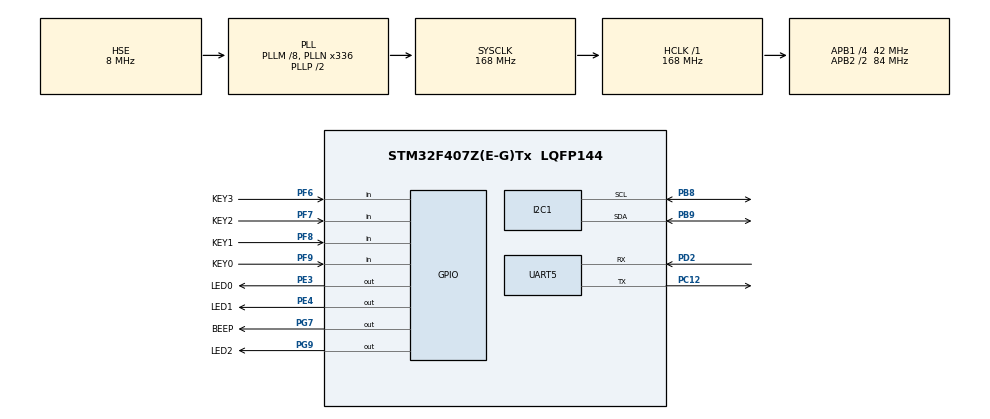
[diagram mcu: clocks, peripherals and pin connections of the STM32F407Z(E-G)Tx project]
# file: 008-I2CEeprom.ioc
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Mcu.Family=STM32F4
Mcu.Name=STM32F407Z(E-G)Tx
Mcu.Package=LQFP144
NVIC.PriorityGroup=NVIC_PRIORITYGROUP_4
NVIC.TIM3_IRQn=true\:0\:0\:false\:false\:true\:true\:true\:true
PA13.Mode=Serial_Wire
PA13.Signal=SYS_JTMS-SWDIO
PA14.Mode=Serial_Wire
PA14.Signal=SYS_JTCK-SWCLK
PB8.Mode=I2C
PB8.Signal=I2C1_SCL
PB9.Mode=I2C
PB9.Signal=I2C1_SDA
PC12.Mode=Asynchronous
PC12.Signal=UART5_TX
PC14-OSC32_IN.Mode=LSE-External-Oscillator
PC14-OSC32_IN.Signal=RCC_OSC32_IN
PC15-OSC32_OUT.Mode=LSE-External-Oscillator
PC15-OSC32_OUT.Signal=RCC_OSC32_OUT
PD2.Mode=Asynchronous
PD2.Signal=UART5_RX
PE3.GPIO_Label=LED0
PE3.PinState=GPIO_PIN_SET
PE3.Signal=GPIO_Output
PE4.GPIO_Label=LED1
PE4.PinState=GPIO_PIN_SET
PE4.Signal=GPIO_Output
PF6.GPIO_Label=KEY3
PF6.GPIO_PuPd=GPIO_PULLUP
PF6.Signal=GPIO_Input
PF7.GPIO_Label=KEY2
PF7.GPIO_PuPd=GPIO_PULLUP
PF7.Signal=GPIO_Input
PF8.GPIO_Label=KEY1
PF8.GPIO_PuPd=GPIO_PULLUP
PF8.Signal=GPIO_Input
PF9.GPIO_Label=KEY0
PF9.GPIO_PuPd=GPIO_PULLUP
PF9.Signal=GPIO_Input
PG7.GPIO_Label=BEEP
PG7.Signal=GPIO_Output
PG9.GPIO_Label=LED2
PG9.PinState=GPIO_PIN_SET
PG9.Signal=GPIO_Output
PH0-OSC_IN.Mode=HSE-External-Oscillator
PH0-OSC_IN.Signal=RCC_OSC_IN
PH1-OSC_OUT.Mode=HSE-External-Oscillator
PH1-OSC_OUT.Signal=RCC_OSC_OUT
ProjectManager.HeapSize=0x200
ProjectManager.StackSize=0x400
ProjectManager.TargetToolchain=CMake
RCC.48MHZClocksFreq_Value=84000000
RCC.AHBFreq_Value=168000000
RCC.APB1CLKDivider=RCC_HCLK_DIV4
RCC.APB1Freq_Value=42000000
RCC.APB1TimFreq_Value=84000000
RCC.APB2CLKDivider=RCC_HCLK_DIV2
RCC.APB2Freq_Value=84000000
RCC.APB2TimFreq_Value=168000000
RCC.CortexFreq_Value=168000000
RCC.HCLKFreq_Value=168000000
RCC.HSE_VALUE=8000000
RCC.HSI_VALUE=16000000
RCC.PLLM=8
RCC.PLLN=336
RCC.PLLSourceVirtual=RCC_PLLSOURCE_HSE
RCC.SYSCLKFreq_VALUE=168000000
RCC.SYSCLKSource=RCC_SYSCLKSOURCE_PLLCLK
RCC.VCOOutputFreq_Value=336000000
TIM3.Period=999
TIM3.Prescaler=1679
UART5.VirtualMode=Asynchronous
VP_TIM3_VS_ClockSourceINT.Mode=Internal
board=custom

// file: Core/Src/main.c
/* USER CODE BEGIN Header */
/**
  ******************************************************************************
  * @file           : main.c
  * @brief          : Main program body
  ******************************************************************************
  * @attention
  *
  * Copyright (c) 2026 STMicroelectronics.
  * All rights reserved.
  *
  * This software is licensed under terms that can be found in the LICENSE file
  * in the root directory of this software component.
  * If no LICENSE file comes with this software, it is provided AS-IS.
  *
  ******************************************************************************
  */
/* USER CODE END Header */
#include "main.h"
#include "i2c.h"
#include "tim.h"
#include "usart.h"
#include "gpio.h"

/* USER CODE BEGIN Includes */
#include <stdio.h>
#include <string.h>
#include "eeprom.h"
/* USER CODE END Includes */

void SystemClock_Config(void);

/* USER CODE BEGIN 0 */
int __io_putchar(int ch)
{
  HAL_UART_Transmit(&huart5, (uint8_t *)&ch, 1, HAL_MAX_DELAY);
  return ch;
}

/* software CRC-16/CCITT over a RAM buffer, used to cross-check EEPROM_CRC16 */
static uint16_t SoftCRC16(const uint8_t *buf, uint16_t len)
{
  uint16_t crc = 0xFFFF;
  for (uint16_t i = 0; i < len; i++)
  {
    crc ^= (uint16_t)buf[i] << 8;
    for (uint8_t b = 0; b < 8; b++)
      crc = (crc & 0x8000u) ? (uint16_t)((crc << 1) ^ 0x1021u)
                            : (uint16_t)(crc << 1);
  }
  return crc;
}
/* USER CODE END 0 */

int main(void)
{

  /* MCU Configuration--------------------------------------------------------*/

  /* Reset of all peripherals, Initializes the Flash interface and the Systick. */
  HAL_Init();

  /* Configure the system clock */
  SystemClock_Config();

  /* Initialize all configured peripherals */
  MX_GPIO_Init();
  MX_TIM3_Init();
  MX_UART5_Init();
  MX_I2C1_Init();
  /* USER CODE BEGIN 2 */
  /* --- Step 1: single byte write/read --- */
  uint8_t w1 = 0xA5, r1 = 0;
  if (EEPROM_WriteByte(0x00, w1) != EEPROM_OK)
    printf("Step1 (1 byte write) : FAIL (I2C error)\r\n");
  else if (EEPROM_ReadByte(0x00, &r1) != EEPROM_OK)
    printf("Step1 (1 byte read)  : FAIL (I2C error)\r\n");
  else
    printf("Step1 (1 byte)       : %s (W=0x%02X R=0x%02X)\r\n",
           (w1 == r1) ? "PASS" : "FAIL (mismatch)", w1, r1);

  /* --- Step 2: 4 byte write/read (within one page) --- */
  uint8_t w4[4] = {0x11, 0x22, 0x33, 0x44};
  uint8_t r4[4] = {0};
  if (EEPROM_Write(0x10, w4, sizeof(w4)) != EEPROM_OK)
    printf("Step2 (4 byte write) : FAIL (I2C error)\r\n");
  else if (EEPROM_Read(0x10, r4, sizeof(r4)) != EEPROM_OK)
    printf("Step2 (4 byte read)  : FAIL (I2C error)\r\n");
  else
    printf("Step2 (4 byte)       : %s\r\n",
           (memcmp(w4, r4, sizeof(w4)) == 0) ? "PASS" : "FAIL (mismatch)");

  /* --- Step 4: block fill + verify --- */
  uint8_t expect[16];
  memset(expect, 0x5A, sizeof(expect));
  printf("Step3.1 Fill 0x5A @0x20 len=16 : %s\r\n",
         (EEPROM_Fill(0x20, 0x5A, 16) == EEPROM_OK) ? "PASS" : "FAIL");
  printf("Step3.2 Verify 0x5A @0x20      : %s\r\n",
         (EEPROM_Verify(0x20, expect, sizeof(expect)) == EEPROM_OK) ? "PASS"
                                                                    : "FAIL");

  /* --- Step 4: CRC-16 of written data (EEPROM vs RAM cross-check) --- */
  uint8_t w10[10] = {0x10, 0x21, 0x32, 0x43, 0x54, 0x65, 0x76, 0x87, 0x98, 0xA9};
  EEPROM_Write(0x00, w10, sizeof(w10));
  uint16_t crcE = EEPROM_CRC16(0x00, sizeof(w10));
  uint16_t crcS = SoftCRC16(w10, sizeof(w10));
  printf("Step4   CRC16 (eeprom=0x%04X soft=0x%04X) : %s\r\n",
         crcE, crcS, (crcE == crcS) ? "PASS" : "FAIL");

  /* --- Step 5: dump written region --- */
  printf("Step5   Dump first 4 pages:\r\n");
  EEPROM_Dump(0x00, 32);

  /* --- Step 6: cross-page 10-byte write + verify (uses Verify API) --- */
  printf("Step6   Cross-page 10B w+verify : %s\r\n",
         (EEPROM_Verify(0x00, w10, sizeof(w10)) == EEPROM_OK) ? "PASS"
                                                              : "FAIL");

  /* --- Step 7: erase whole chip at the end, check blank --- */
  printf("Step7.1 EraseAll               : %s\r\n",
         (EEPROM_EraseAll() == EEPROM_OK) ? "PASS" : "FAIL");
  memset(expect, 0xFF, 16);
  printf("Step7.2 Verify 0xFF @0x00      : %s\r\n",
         (EEPROM_Verify(0x00, expect, 16) == EEPROM_OK) ? "PASS" : "FAIL");
  /* USER CODE END 2 */

  /* Infinite loop */
  while (1)
  {

  }
}

void SystemClock_Config(void)
{
  RCC_OscInitTypeDef RCC_OscInitStruct = {0};
  RCC_ClkInitTypeDef RCC_ClkInitStruct = {0};

  /** Configure the main internal regulator output voltage
  */
  __HAL_RCC_PWR_CLK_ENABLE();
  __HAL_PWR_VOLTAGESCALING_CONFIG(PWR_REGULATOR_VOLTAGE_SCALE1);

  /** Initializes the RCC Oscillators according to the specified parameters
  * in the RCC_OscInitTypeDef structure.
  */
  RCC_OscInitStruct.OscillatorType = RCC_OSCILLATORTYPE_HSE;
  RCC_OscInitStruct.HSEState = RCC_HSE_ON;
  RCC_OscInitStruct.PLL.PLLState = RCC_PLL_ON;
  RCC_OscInitStruct.PLL.PLLSource = RCC_PLLSOURCE_HSE;
  RCC_OscInitStruct.PLL.PLLM = 8;
  RCC_OscInitStruct.PLL.PLLN = 336;
  RCC_OscInitStruct.PLL.PLLP = RCC_PLLP_DIV2;
  RCC_OscInitStruct.PLL.PLLQ = 4;
  if (HAL_RCC_OscConfig(&RCC_OscInitStruct) != HAL_OK)
  {
    Error_Handler();
  }

  /** Initializes the CPU, AHB and APB buses clocks
  */
  RCC_ClkInitStruct.ClockType = RCC_CLOCKTYPE_HCLK|RCC_CLOCKTYPE_SYSCLK
                              |RCC_CLOCKTYPE_PCLK1|RCC_CLOCKTYPE_PCLK2;
  RCC_ClkInitStruct.SYSCLKSource = RCC_SYSCLKSOURCE_PLLCLK;
  RCC_ClkInitStruct.AHBCLKDivider = RCC_SYSCLK_DIV1;
  RCC_ClkInitStruct.APB1CLKDivider = RCC_HCLK_DIV4;
  RCC_ClkInitStruct.APB2CLKDivider = RCC_HCLK_DIV2;

  if (HAL_RCC_ClockConfig(&RCC_ClkInitStruct, FLASH_LATENCY_5) != HAL_OK)
  {
    Error_Handler();
  }
}

void Error_Handler(void)
{
  __disable_irq();
  while (1)
  {
  }
}
